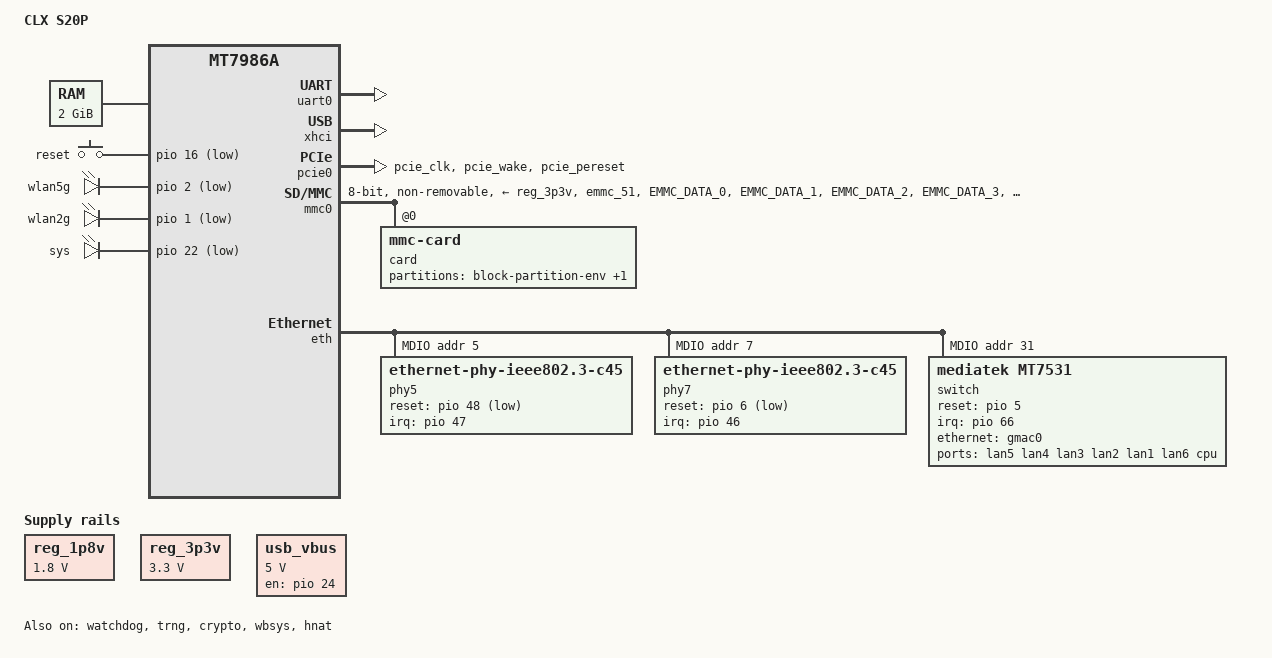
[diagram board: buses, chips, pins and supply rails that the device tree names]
/dts-v1/;

#include "mt7986a.dtsi"

#include <dt-bindings/gpio/gpio.h>
#include <dt-bindings/input/input.h>
#include <dt-bindings/interrupt-controller/irq.h>

/* 
 * 基于"device_tree.dts.txt"gpt5.4适配_20260328
 * 存在问题: 2.5G获取不到IP
*/

/ {
	model = "CLX S20P";
	compatible = "clx,s20p-dsa", "mediatek,mt7986a-emmc-rfb";

	chosen {
		stdout-path = "serial0:115200n8";
		bootargs = "console=ttyS0,115200n1 loglevel=8 earlycon=uart8250,mmio32,0x11002000 root=PARTLABEL=rootfs rootwait rootfstype=squashfs,f2fs";
	};

	aliases {
		serial0 = &uart0;
		label-mac-device = &gmac0;
		led-boot = &led_sys;
		led-failsafe = &led_sys;
		led-running = &led_sys;
		led-upgrade = &led_sys;
	};

	memory {
		reg = <0 0x40000000 0 0x80000000>;
	};

	reg_1p8v: regulator-1p8v {
		compatible = "regulator-fixed";
		regulator-name = "1.8vd";
		regulator-min-microvolt = <1800000>;
		regulator-max-microvolt = <1800000>;
		regulator-boot-on;
		regulator-always-on;
	};

	reg_3p3v: regulator-3p3v {
		compatible = "regulator-fixed";
		regulator-name = "fixed-3.3V";
		regulator-min-microvolt = <3300000>;
		regulator-max-microvolt = <3300000>;
		regulator-boot-on;
		regulator-always-on;
	};

	usb_vbus: regulator-usb-vbus {
		compatible = "regulator-fixed";
		regulator-name = "usb_vbus";
		regulator-min-microvolt = <5000000>;
		regulator-max-microvolt = <5000000>;
		gpios = <&pio 24 GPIO_ACTIVE_HIGH>;
		enable-active-high;
		regulator-boot-on;
	};

	keys {
		compatible = "gpio-keys";

		reset {
			label = "reset";
			linux,code = <KEY_RESTART>;
			gpios = <&pio 16 GPIO_ACTIVE_LOW>;
		};
	};

	leds {
		compatible = "gpio-leds";

		led_wlan5g: led-wlan5g {
			label = "wlan5g";
			gpios = <&pio 2 GPIO_ACTIVE_LOW>;
		};

		led_wlan2g: led-wlan2g {
			label = "wlan2g";
			gpios = <&pio 1 GPIO_ACTIVE_LOW>;
		};

		led_sys: led-sys {
			label = "sys";
			gpios = <&pio 22 GPIO_ACTIVE_LOW>;
		};
	};
};

&watchdog {
	status = "okay";
};

&trng {
	status = "okay";
};

&crypto {
	status = "okay";
};

&uart0 {
	status = "okay";
};

&uart1 {
	status = "disabled";
};

&uart2 {
	status = "disabled";
};

&i2c0 {
	status = "disabled";
};

&spi0 {
	status = "disabled";
};

&spi1 {
	status = "disabled";
};

&pwm {
	status = "disabled";
};

&auxadc {
	status = "disabled";
};

&xhci {
	status = "okay";
};

&pcie0 {
	pinctrl-names = "default";
	pinctrl-0 = <&pcie_pins>;
	status = "okay";
};

&wbsys {
	status = "okay";
};

&mmc0 {
	pinctrl-names = "default", "state_uhs";
	pinctrl-0 = <&mmc0_pins_default>;
	pinctrl-1 = <&mmc0_pins_uhs>;
	bus-width = <8>;
	max-frequency = <200000000>;
	cap-mmc-highspeed;
	mmc-hs200-1_8v;
	mmc-hs400-1_8v;
	hs400-ds-delay = <0x14014>;
	vmmc-supply = <&reg_3p3v>;
	vqmmc-supply = <&reg_1p8v>;
	non-removable;
	no-sd;
	no-sdio;
	status = "okay";

	card@0 {
		compatible = "mmc-card";
		reg = <0>;

		block {
			compatible = "block-device";

			partitions {
				block-partition-env {
					partname = "u-boot-env";

					nvmem-layout {
						compatible = "u-boot,env";
					};
				};

				block-partition-factory {
					partname = "factory";

					nvmem-layout {
						compatible = "fixed-layout";
						#address-cells = <1>;
						#size-cells = <1>;

						eeprom_factory_0: eeprom@0 {
							reg = <0x0 0x1000>;
						};

						macaddr_factory_24: macaddr@24 {
							compatible = "mac-base";
							reg = <0x24 0x6>;
							#nvmem-cell-cells = <1>;
						};

						macaddr_factory_2a: macaddr@2a {
							compatible = "mac-base";
							reg = <0x2a 0x6>;
							#nvmem-cell-cells = <1>;
						};
					};
				};
			};
		};
	};
};

&hnat {
	mtketh-wan = "wan";
	mtketh-lan = "lan";
	mtketh-max-gmac = <2>;
	ext-devices-prefix = "usb", "wwan";
	ext-devices = "wwan0_0","wwan0_1","wwan0.1","wwan0.2";
	status = "okay";
};

&eth {
	status = "okay";

	gmac0: mac@0 {
		compatible = "mediatek,eth-mac";
		reg = <0>;
		phy-mode = "2500base-x";
		nvmem-cells = <&macaddr_factory_2a 0>;
		nvmem-cell-names = "mac-address";

		fixed-link {
			speed = <2500>;
			full-duplex;
			pause;
		};
	};

	gmac1: mac@1 {
		compatible = "mediatek,eth-mac";
		reg = <1>;
		phy-mode = "2500base-x";
		phy-handle = <&phy7>;
		nvmem-cells = <&macaddr_factory_24 0>;
		nvmem-cell-names = "mac-address";
	};

	mdio: mdio-bus {
		#address-cells = <1>;
		#size-cells = <0>;

		phy5: ethernet-phy@5 {
			compatible = "ethernet-phy-ieee802.3-c45";
			reg = <5>;
			reset-gpios = <&pio 48 GPIO_ACTIVE_LOW>;
			reset-assert-us = <100000>;
			reset-deassert-us = <100000>;
			interrupt-parent = <&pio>;
			interrupts = <47 IRQ_TYPE_LEVEL_LOW>;
			realtek,aldps-enable;
			realtek,led-link-select = <0xa7 0x03 0x00>;
			realtek,led-act-select = <0x321b>;
		};

		phy7: ethernet-phy@7 {
			compatible = "ethernet-phy-ieee802.3-c45";
			reg = <7>;
			reset-gpios = <&pio 6 GPIO_ACTIVE_LOW>;
			reset-assert-us = <100000>;
			reset-deassert-us = <100000>;
			interrupt-parent = <&pio>;
			interrupts = <46 IRQ_TYPE_LEVEL_LOW>;
			realtek,aldps-enable;
			realtek,led-link-select = <0xa7 0x03 0x00>;
			realtek,led-act-select = <0x321b>;
		};

		switch@0 {
			compatible = "mediatek,mt7531";
			reg = <31>;
			reset-gpios = <&pio 5 GPIO_ACTIVE_HIGH>;
			interrupt-controller;
			#interrupt-cells = <1>;
			interrupt-parent = <&pio>;
			interrupts = <66 IRQ_TYPE_LEVEL_HIGH>;

			ports {
				#address-cells = <1>;
				#size-cells = <0>;

				port@0 {
					reg = <0>;
					label = "lan5";
				};

				port@1 {
					reg = <1>;
					label = "lan4";
				};

				port@2 {
					reg = <2>;
					label = "lan3";
				};

				port@3 {
					reg = <3>;
					label = "lan2";
				};

				port@4 {
					reg = <4>;
					label = "lan1";
				};

				port@5 {
					reg = <5>;
					label = "lan6";
					phy-mode = "2500base-x";
					phy-handle = <&phy5>;
				};

				port@6 {
					reg = <6>;
					label = "cpu";
					ethernet = <&gmac0>;
					phy-mode = "2500base-x";

					fixed-link {
						speed = <2500>;
						full-duplex;
						pause;
					};
				};
			};
		};
	};
};

&pio {
	wf_2g_5g_pins: wf-2g-5g-pins {
		mux {
			function = "wifi";
			groups = "wf_2g", "wf_5g";
		};

		conf {
			pins = "WF0_HB1", "WF0_HB2", "WF0_HB3", "WF0_HB4",
			       "WF0_HB0", "WF0_HB0_B", "WF0_HB5", "WF0_HB6",
			       "WF0_HB7", "WF0_HB8", "WF0_HB9", "WF0_HB10",
			       "WF0_TOP_CLK", "WF0_TOP_DATA",
			       "WF1_HB1", "WF1_HB2", "WF1_HB3", "WF1_HB4",
			       "WF1_HB0", "WF1_HB5", "WF1_HB6", "WF1_HB7",
			       "WF1_HB8", "WF1_TOP_CLK", "WF1_TOP_DATA";
			drive-strength = <4>;
		};
	};

	wf_dbdc_pins: wf-dbdc-pins {
		mux {
			function = "wifi";
			groups = "wf_dbdc";
		};

		conf {
			pins = "WF0_HB1", "WF0_HB2", "WF0_HB3", "WF0_HB4",
			       "WF0_HB0", "WF0_HB0_B", "WF0_HB5", "WF0_HB6",
			       "WF0_HB7", "WF0_HB8", "WF0_HB9", "WF0_HB10",
			       "WF0_TOP_CLK", "WF0_TOP_DATA",
			       "WF1_HB1", "WF1_HB2", "WF1_HB3", "WF1_HB4",
			       "WF1_HB0", "WF1_HB5", "WF1_HB6", "WF1_HB7",
			       "WF1_HB8", "WF1_TOP_CLK", "WF1_TOP_DATA";
			drive-strength = <4>;
		};
	};

	pcie_pins: pcie-pins {
		mux {
			function = "pcie";
			groups = "pcie_clk", "pcie_wake", "pcie_pereset";
		};
	};

	mmc0_pins_default: mmc0-pins-default {
		mux {
			function = "flash";
			groups = "emmc_51";
		};

		conf-cmd-dat {
			pins = "EMMC_DATA_0", "EMMC_DATA_1", "EMMC_DATA_2",
			       "EMMC_DATA_3", "EMMC_DATA_4", "EMMC_DATA_5",
			       "EMMC_DATA_6", "EMMC_DATA_7", "EMMC_CMD";
			input-enable;
			drive-strength = <4>;
			mediatek,pull-up-adv = <1>;
		};

		conf-clk {
			pins = "EMMC_CK";
			drive-strength = <6>;
			mediatek,pull-down-adv = <2>;
		};

		conf-ds {
			pins = "EMMC_DSL";
			mediatek,pull-down-adv = <2>;
		};

		conf-rst {
			pins = "EMMC_RSTB";
			drive-strength = <4>;
			mediatek,pull-up-adv = <1>;
		};
	};

	mmc0_pins_uhs: mmc0-pins-uhs {
		mux {
			function = "flash";
			groups = "emmc_51";
		};

		conf-cmd-dat {
			pins = "EMMC_DATA_0", "EMMC_DATA_1", "EMMC_DATA_2",
			       "EMMC_DATA_3", "EMMC_DATA_4", "EMMC_DATA_5",
			       "EMMC_DATA_6", "EMMC_DATA_7", "EMMC_CMD";
			input-enable;
			drive-strength = <4>;
			mediatek,pull-up-adv = <1>;
		};

		conf-clk {
			pins = "EMMC_CK";
			drive-strength = <6>;
			mediatek,pull-down-adv = <2>;
		};

		conf-ds {
			pins = "EMMC_DSL";
			mediatek,pull-down-adv = <2>;
		};

		conf-rst {
			pins = "EMMC_RSTB";
			drive-strength = <4>;
			mediatek,pull-up-adv = <1>;
		};
	};
};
